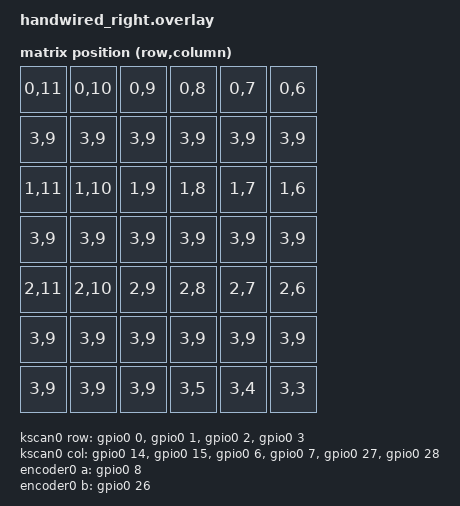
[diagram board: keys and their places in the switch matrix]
/*
 * Right half (peripheral / slave)
 *
 * Same physical pins as left, but the matrix transform reverses column
 * order so that the mirrored PCB produces the correct global positions.
 *
 *   Physical col 0 (GP14) = right-side outermost  →  logical col 11
 *   Physical col 5 (GP28) = right-side innermost  →  logical col  6
 *   Cols  : Col0=GP14 Col1=GP15 Col2=GP6  Col3=GP7  Col4=GP27 Col5=GP28
 *   WS2812: GP16 via PIO0
 */

#include <dt-bindings/zmk/matrix_transform.h>
#include <dt-bindings/pinctrl/rpi-pico-rp2040-pinctrl.h>
#include <dt-bindings/led/led.h>

/ {
    chosen {
        zmk,kscan            = &kscan0;
        zmk,matrix-transform = &default_transform;
        zmk,split-uart       = &uart1;
        zmk,underglow        = &ws2812;
    };

    sensors: sensors {
        compatible = "zmk,keymap-sensors";
        sensors = <&encoder0>;
        triggers-per-rotation = <20>;
    };

    default_transform: matrix_transform {
        compatible = "zmk,matrix-transform";
        columns = <12>;
        rows = <4>;
        map = <
            /* row 0 – reversed: phys col0→col11, col1→col10 … col5→col6 */
            RC(0,11) RC(0,10) RC(0,9) RC(0,8) RC(0,7) RC(0,6)
            RC(3,9)  RC(3,9)  RC(3,9) RC(3,9) RC(3,9) RC(3,9)
            /* row 1 */
            RC(1,11) RC(1,10) RC(1,9) RC(1,8) RC(1,7) RC(1,6)
            RC(3,9)  RC(3,9)  RC(3,9) RC(3,9) RC(3,9) RC(3,9)
            /* row 2 – EC11 button at phys col0 → RC(2,11) → pos 35 */
            RC(2,11) RC(2,10) RC(2,9) RC(2,8) RC(2,7) RC(2,6)
            RC(3,9)  RC(3,9)  RC(3,9) RC(3,9) RC(3,9) RC(3,9)
            /* row 3 – phantoms 36-38; RT1/RT2/RT3 at positions 39-41 (phys col5/col4/col3) */
            RC(3,9) RC(3,9) RC(3,9) RC(3,5) RC(3,4) RC(3,3)
        >;
    };

    kscan0: kscan_0 {
        compatible = "zmk,kscan-gpio-matrix";
        diode-direction = "col2row";

        col-gpios
            = <&gpio0 14 GPIO_ACTIVE_HIGH>   /* Col0 */
            , <&gpio0 15 GPIO_ACTIVE_HIGH>   /* Col1 */
            , <&gpio0  6 GPIO_ACTIVE_HIGH>   /* Col2 */
            , <&gpio0  7 GPIO_ACTIVE_HIGH>   /* Col3 */
            , <&gpio0 27 GPIO_ACTIVE_HIGH>   /* Col4 */
            , <&gpio0 28 GPIO_ACTIVE_HIGH>   /* Col5 */
            ;

        row-gpios
            = <&gpio0 0 (GPIO_ACTIVE_HIGH | GPIO_PULL_DOWN)>
            , <&gpio0 1 (GPIO_ACTIVE_HIGH | GPIO_PULL_DOWN)>
            , <&gpio0 2 (GPIO_ACTIVE_HIGH | GPIO_PULL_DOWN)>
            , <&gpio0 3 (GPIO_ACTIVE_HIGH | GPIO_PULL_DOWN)>
            ;
    };

    encoder0: encoder_0 {
        compatible = "alps,ec11";
        a-gpios = <&gpio0  8 (GPIO_ACTIVE_HIGH | GPIO_PULL_UP)>;
        b-gpios = <&gpio0 26 (GPIO_ACTIVE_HIGH | GPIO_PULL_UP)>;
        steps = <80>;
        status = "okay";
    };
};

&pinctrl {
    ws2812_pio0_default: ws2812_pio0_default {
        group1 {
            pinmux = <PIO0_P16>;
        };
    };

    uart1_default: uart1_default {
        group1 {
            pinmux = <UART1_TX_P4>;
        };
        group2 {
            pinmux = <UART1_RX_P5>;
            input-enable;
        };
    };
};

&uart1 {
    status = "okay";
    current-speed = <115200>;
    pinctrl-0 = <&uart1_default>;
    pinctrl-names = "default";
};

&pio0 {
    status = "okay";

    pio-ws2812 {
        compatible = "worldsemi,ws2812-rpi_pico-pio";
        status = "okay";
        pinctrl-0 = <&ws2812_pio0_default>;
        pinctrl-names = "default";
        bit-waveform = <3>, <3>, <4>;

        ws2812: ws2812 {
            status = "okay";
            gpios = <&gpio0 16 GPIO_ACTIVE_HIGH>;
            chain-length = <1>;
            color-mapping = <LED_COLOR_ID_RED
                             LED_COLOR_ID_GREEN
                             LED_COLOR_ID_BLUE>;
            reset-delay = <280>;
            frequency = <800000>;
        };
    };
};
